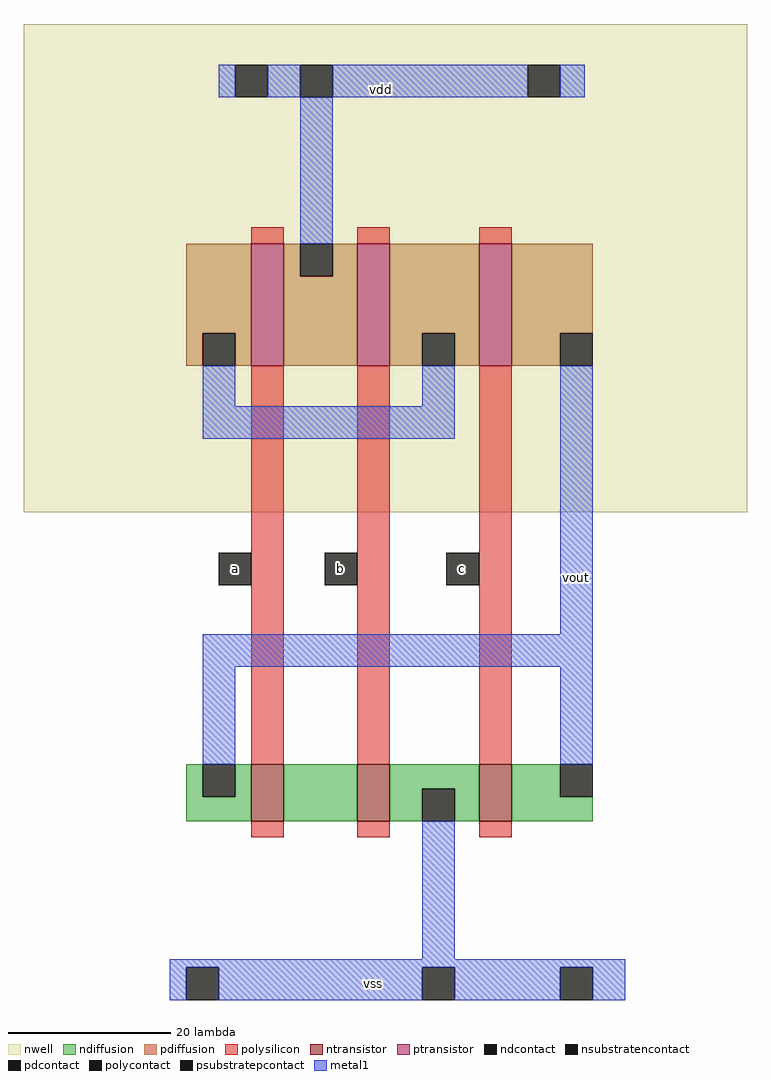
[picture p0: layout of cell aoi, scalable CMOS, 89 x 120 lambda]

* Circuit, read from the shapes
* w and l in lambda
.subckt aoi a b c vdd vout vss
M1 n1 a vout vss nfet w=7 l=4
M2 vss b n1 vss nfet w=7 l=4
M3 vout c vss vss nfet w=7 l=4
M4 vdd a n2 vdd pfet w=15 l=4
M5 n2 b vdd vdd pfet w=15 l=4
M6 vout c n2 vdd pfet w=15 l=4
.ends

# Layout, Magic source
magic
tech scmos
<< nwell >>
rect -29 -18 60 42
<< polysilicon >>
rect -1 15 3 17
rect 12 15 16 17
rect 27 15 31 17
rect -1 -49 3 0
rect 12 -49 16 0
rect 27 -49 31 0
rect -1 -58 3 -56
rect 12 -58 16 -56
rect 27 -58 31 -56
<< ndiffusion >>
rect -9 -53 -7 -49
rect -3 -53 -1 -49
rect -9 -56 -1 -53
rect 3 -56 12 -49
rect 16 -52 27 -49
rect 16 -56 20 -52
rect 24 -56 27 -52
rect 31 -53 37 -49
rect 31 -56 41 -53
<< pdiffusion >>
rect -9 4 -1 15
rect -9 0 -7 4
rect -3 0 -1 4
rect 3 11 5 15
rect 9 11 12 15
rect 3 0 12 11
rect 16 4 27 15
rect 16 0 20 4
rect 24 0 27 4
rect 31 4 41 15
rect 31 0 37 4
<< metal1 >>
rect -5 33 -3 37
rect 1 33 5 37
rect 9 33 33 37
rect 37 33 40 37
rect 5 15 9 33
rect -7 -5 -3 0
rect 20 -5 24 0
rect -7 -9 24 -5
rect 37 -33 41 0
rect -7 -37 41 -33
rect -7 -49 -3 -37
rect 37 -49 41 -37
rect 20 -73 24 -56
rect -11 -74 45 -73
rect -11 -78 -9 -74
rect -5 -78 20 -74
rect 24 -78 37 -74
rect 41 -78 45 -74
<< ntransistor >>
rect -1 -56 3 -49
rect 12 -56 16 -49
rect 27 -56 31 -49
<< ptransistor >>
rect -1 0 3 15
rect 12 0 16 15
rect 27 0 31 15
<< polycontact >>
rect -5 -27 -1 -23
rect 8 -27 12 -23
rect 23 -27 27 -23
<< ndcontact >>
rect -7 -53 -3 -49
rect 20 -56 24 -52
rect 37 -53 41 -49
<< pdcontact >>
rect -7 0 -3 4
rect 5 11 9 15
rect 20 0 24 4
rect 37 0 41 4
<< psubstratepcontact >>
rect -9 -78 -5 -74
rect 20 -78 24 -74
rect 37 -78 41 -74
<< nsubstratencontact >>
rect -3 33 1 37
rect 5 33 9 37
rect 33 33 37 37
<< labels >>
rlabel metal1 15 34 15 34 1 vdd
rlabel polycontact -3 -25 -3 -25 1 a
rlabel polycontact 10 -25 10 -25 1 b
rlabel polycontact 25 -25 25 -25 1 c
rlabel metal1 14 -76 14 -76 1 vss
rlabel metal1 39 -26 39 -26 1 vout
<< end >>
